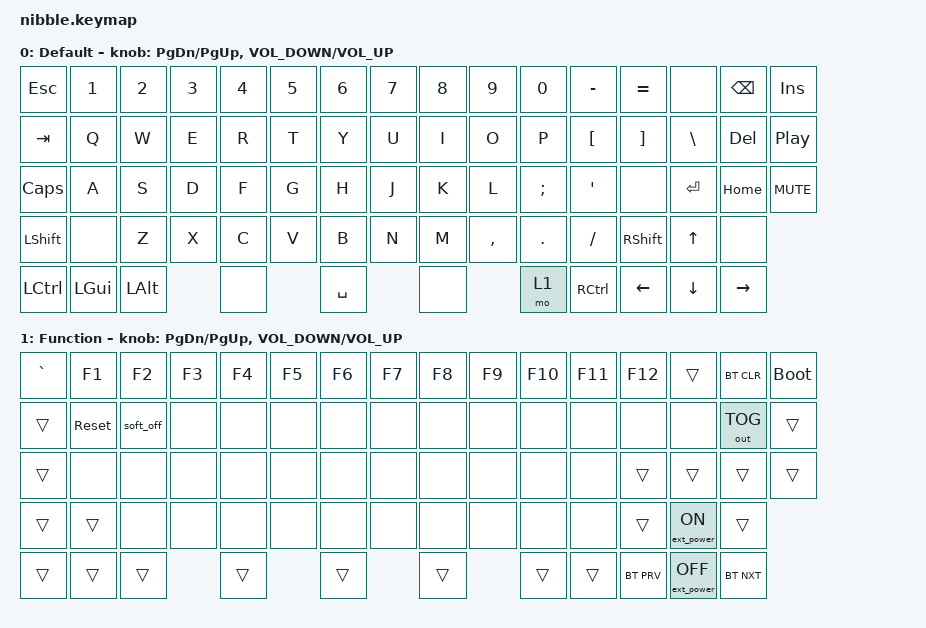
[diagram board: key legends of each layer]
#include <behaviors.dtsi>
#include <dt-bindings/zmk/keys.h>
#include <dt-bindings/zmk/bt.h>
#include <dt-bindings/zmk/outputs.h>
#include <dt-bindings/zmk/ext_power.h>

/ {
    sensors: sensors {
        compatible = "zmk,keymap-sensors";
        sensors = <&encoder_1 &encoder_2>;
        triggers-per-rotation = <20>;   
    };
 
    default_layer {
        compatible = "zmk,keymap";

        0 {
            display-name = "Default";

            sensor-bindings = <&inc_dec_kp PAGE_DOWN PAGE_UP &inc_dec_kp C_VOLUME_DOWN C_VOLUME_UP>;

            bindings = <
            &kp ESC   &kp N1    &kp N2    &kp N3    &kp N4    &kp N5    &kp N6    &kp N7    &kp N8  &kp N9    &kp N0    &kp MINUS &kp EQUAL &none    &kp BSPC    &kp INS 
            &kp TAB   &kp Q     &kp W     &kp E     &kp R     &kp T     &kp Y     &kp U     &kp I   &kp O     &kp P     &kp LBKT  &kp RBKT  &kp BSLH &kp DEL     &kp C_PLAY_PAUSE
            &kp CAPS  &kp A     &kp S     &kp D     &kp F     &kp G     &kp H     &kp J     &kp K   &kp L     &kp SEMI  &kp SQT   &none     &kp RET  &kp HOME    &kp C_MUTE
            &kp LSHFT &none     &kp Z     &kp X     &kp C     &kp V     &kp B     &kp N     &kp M   &kp COMMA &kp DOT   &kp FSLH  &kp RSHFT &kp UP   &none
            &kp LCTRL &kp LGUI  &kp LALT            &none               &kp SPACE           &none             &mo 1    &kp RCTRL &kp LEFT  &kp DOWN &kp RIGHT
            >;
        };

        fn_layer {
            display-name = "Function";

            sensor-bindings = <&inc_dec_kp PAGE_DOWN PAGE_UP &inc_dec_kp C_VOLUME_DOWN C_VOLUME_UP>;

             bindings = <
            &kp GRAVE &kp F1    &kp F2    &kp F3    &kp F4    &kp F5    &kp F6    &kp F7    &kp F8  &kp F9    &kp F10   &kp F11   &kp F12   &trans   &bt BT_CLR  &bootloader
            &trans    &sys_reset     &soft_off     &none     &none     &none     &none     &none     &none   &none     &none     &none     &none     &none    &out OUT_TOG &trans
            &trans    &none     &none     &none     &none     &none     &none     &none     &none   &none     &none     &none     &trans    &trans   &trans      &trans
            &trans    &trans    &none     &none     &none     &none     &none     &none     &none   &none     &none     &none     &trans    &ext_power EP_ON   &trans
            &trans    &trans    &trans              &trans              &trans              &trans            &trans    &trans    &bt BT_PRV &ext_power EP_OFF   &bt BT_NXT
            >;
        };
    };
};
